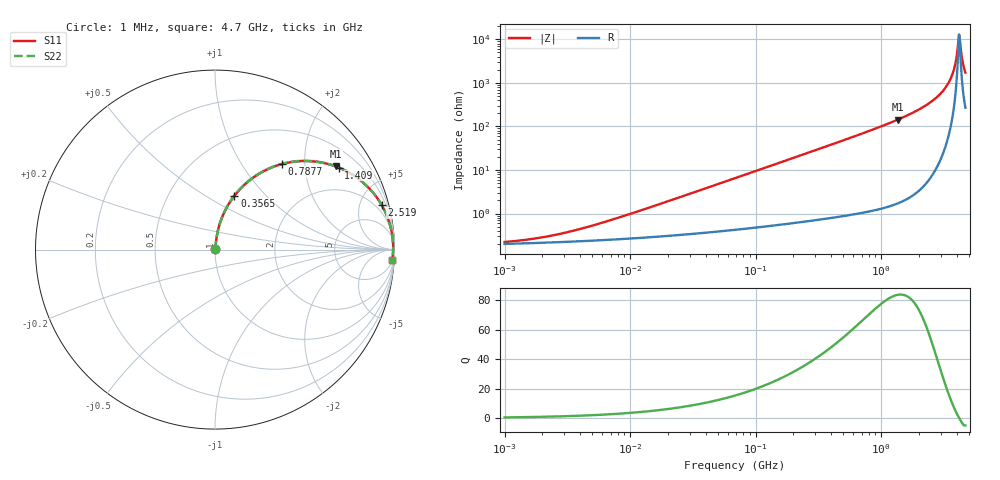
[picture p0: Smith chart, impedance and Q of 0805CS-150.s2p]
# MHz S MA R 50
!Freq  MagS11  AngS11  MagS21  AngS21  MagS12  AngS12  MagS22  AngS22
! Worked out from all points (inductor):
!   801 points, 1 MHz to 4.7 GHz, reference 50 ohm
!   read as one part in series: L = 15 nH near 8.193 MHz
!   highest Q = 83.9 at 1.365 GHz (marker M1), where L = 16.8 nH
!   self-resonance near 4.184 GHz
!   S11 on the Smith chart (normalised r, x): 1 MHz: 1.00, +0.00; 356.5 MHz: 1.02, +0.68; 787.7 MHz: 1.02, +1.54; 1.409 GHz: 1.04, +2.99; 2.519 GHz: 1.14, +7.43; 4.7 GHz: 6, -34
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1  0.00221 25.1  0.998 -0.1  0.998 -0.1  0.00221 25.1
2.030197  0.002859 41.8  0.9979 -0.1  0.9979 -0.1  0.002859 41.8
4.1217  0.004513 59.0  0.9977 -0.2  0.9977 -0.2  0.004513 59.0
16.8098  0.01607 78.6  0.9969 -0.9  0.9969 -0.9  0.01607 78.6
68.55655  0.06436 82.6  0.9937 -3.7  0.9937 -3.7  0.06436 82.6
282.5695  0.2569 73.7  0.9599 -14.9  0.9599 -14.9  0.2569 73.7
356.5398  0.3185 70.2  0.9409 -18.6  0.9409 -18.6  0.3185 70.2
787.7115  0.6057 51.9  0.7871 -37.3  0.7871 -37.3  0.6057 51.9
1152.422  0.7569 40.1  0.6443 -49.2  0.6443 -49.2  0.7569 40.1
1364.751  0.8166 34.6  0.5676 -54.7  0.5676 -54.7  0.8166 34.6
1408.718  0.8269 33.5  0.5526 -55.8  0.5526 -55.8  0.8269 33.5
1934.317  0.9137 23.2  0.3946 -66.0  0.3946 -66.0  0.9137 23.2
2519.304  0.961 15.0  0.2588 -73.9  0.2588 -73.9  0.961 15.0
3079.59  0.9824 9.0  0.1561 -79.0  0.1561 -79.0  0.9824 9.0
3533.17  0.9901 5.0  0.08663 -81.0  0.08663 -81.0  0.9901 5.0
3804.481  0.9921 2.8  0.04958 -79.4  0.04958 -79.4  0.9921 2.8
3927.044  0.9925 1.9  0.03391 -76.3  0.03391 -76.3  0.9925 1.9
4053.556  0.9926 1.0  0.01872 -66.2  0.01872 -66.2  0.9926 1.0
4184.143  0.9924 0.1  0.007691 -10.0  0.007691 -10.0  0.9924 0.1
4318.937  0.992 -0.8  0.01657 60.6  0.01657 60.6  0.992 -0.8
4505.442  0.9909 -2.0  0.03672 74.7  0.03672 74.7  0.9909 -2.0
4700  0.9894 -3.3  0.05762 77.7  0.05762 77.7  0.9894 -3.3
